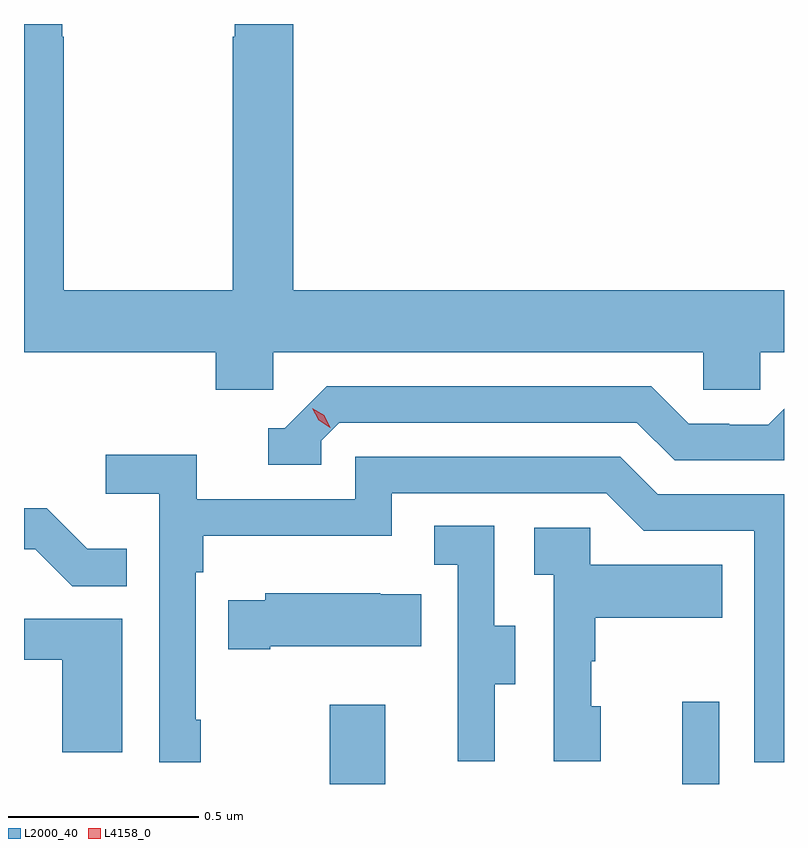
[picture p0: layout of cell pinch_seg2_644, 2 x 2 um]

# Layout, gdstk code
import gdstk
lib = gdstk.Library(unit=1e-6, precision=1e-09)
def R(c, l, rs):  # rectangles x0, y0, x1, y1
    for r in rs: c.add(gdstk.rectangle(r[:2], r[2:], *l))
def P(c, l, *ps):  # polygons
    for p in ps: c.add(gdstk.Polygon(p, *l))
L2000_40 = (2000, 40)
L4158_0 = (4158, 0)

pinch_seg2_644 = lib.new_cell('pinch_seg2_644')
R(pinch_seg2_644, L2000_40, [(1025.632,609.204,1025.779,609.412), (1026.56,609.204,1026.657,609.421)])
P(pinch_seg2_644, L2000_40, [(1025.484,610.34),(1026.615,610.34),(1026.615,610.242),(1026.765,610.242),(1026.765,610.34),(1026.828,610.34),(1026.828,610.504),(1025.537,610.504),(1025.537,611.204),(1025.383,611.204),(1025.383,611.171),(1025.377,611.171),(1025.377,610.504),(1024.932,610.504),(1024.932,611.171),(1024.929,611.171),(1024.929,611.204),(1024.828,611.204),(1024.828,610.34),(1025.333,610.34),(1025.333,610.242),(1025.484,610.242)],
  [(1025.61,610.107),(1025.658,610.155),(1026.441,610.155),(1026.54,610.056),(1026.828,610.056),(1026.828,610.191),(1026.787,610.149),(1026.684,610.149),(1026.684,610.152),(1026.577,610.152),(1026.478,610.251),(1025.625,610.251),(1025.514,610.14),(1025.471,610.14),(1025.471,610.044),(1025.61,610.044)],
  [(1025.293,609.373),(1025.28,609.373),(1025.28,609.761),(1025.3,609.761),(1025.3,609.857),(1025.796,609.857),(1025.796,609.969),(1026.36,609.969),(1026.459,609.87),(1026.75,609.87),(1026.75,609.261),(1026.828,609.261),(1026.828,609.966),(1026.496,609.966),(1026.397,610.065),(1025.7,610.065),(1025.7,609.954),(1025.282,609.954),(1025.282,610.07),(1025.043,610.07),(1025.043,609.968),(1025.184,609.968),(1025.184,609.261),(1025.293,609.261)],
  [(1025.099,609.823),(1024.995,609.823),(1024.888,609.93),(1024.828,609.93),(1024.828,609.822),(1024.857,609.822),(1024.955,609.724),(1025.099,609.724)],
  [(1026.067,609.466),(1026.121,609.466),(1026.121,609.621),(1026.066,609.621),(1026.066,609.884),(1025.907,609.884),(1025.907,609.781),(1025.97,609.781),(1025.97,609.477),(1025.969,609.477),(1025.969,609.264),(1026.067,609.264)],
  [(1026.346,609.408),(1026.321,609.408),(1026.321,609.527),(1026.331,609.527),(1026.331,609.641),(1026.665,609.641),(1026.665,609.781),(1026.318,609.781),(1026.318,609.879),(1026.171,609.879),(1026.171,609.755),(1026.222,609.755),(1026.222,609.264),(1026.346,609.264)],
  [(1025.476,609.566),(1025.873,609.566),(1025.873,609.703),(1025.765,609.703),(1025.765,609.706),(1025.463,609.706),(1025.463,609.688),(1025.365,609.688),(1025.365,609.559),(1025.476,609.559)],
  [(1025.086,609.639),(1024.828,609.639),(1024.828,609.543),(1024.829,609.543),(1024.829,609.531),(1024.928,609.531),(1024.928,609.288),(1025.086,609.288)])
P(pinch_seg2_644, L4158_0, [(1025.634,610.142),(1025.603,610.161),(1025.587,610.193),(1025.587,610.193),(1025.587,610.193),(1025.618,610.174),(1025.634,610.142),(1025.634,610.142)])

lib.write_gds('pinch_seg2_644.gds')
